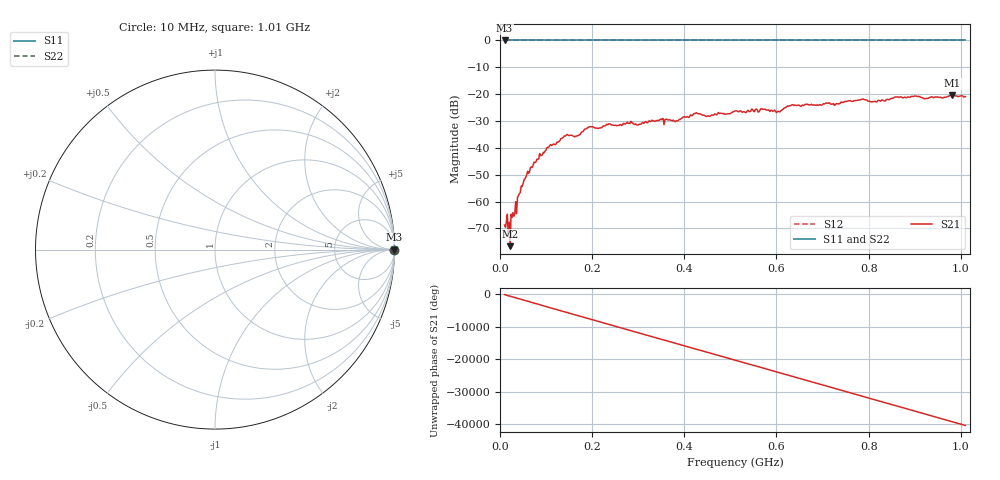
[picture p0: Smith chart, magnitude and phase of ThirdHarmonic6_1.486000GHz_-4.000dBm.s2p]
! 8/16/2025 5:23:14 PM
! C:\ANRITSUVNA\TEMP\TEMP.S2P
! CHANNEL.1
! TR.MEASUREMENT
! RAW.DATA
! RF.CORRECTION.OFF
! AVERAGING.OFF
! IF.BANDWIDTH: 5KHZ
! SWEEPTYPE:  FREQ.SWEEP(Linear)
! Reference Plane Port Info
! PORT:  PORT1  PORT2
! DISTANCE:  0  m  0  m
! TIME:  0  s  0  s
! PHASE.OFFSET:  0  deg.  0  deg.
! LOSS:  0  dB  0  dB
! REF.LOSS:  0  dB  0  dB
! REF.FREQ:  0  Hz  0  Hz
! Power Info
! POWER:  -20  dBm  -20  dBm
! EFF.POWER:  -20  dBm  -20  dBm
! SOURCE.ATTEN:  0  dB  0  dB
! TEST.ATTEN:  0  dB  0  dB
# GHZ S RI R 50.0
! FREQ.GHZ  S11RE  S11IM  S21RE  S21IM  S12RE  S12IM  S22RE  S22IM
!; PortSelection: Port_12
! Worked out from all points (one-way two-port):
!   501 points, 10 MHz to 1.01 GHz, reference 50 ohm
!   highest |S21| = -20.45 dB at 982 MHz (marker M1); lowest = -76.6 dB at 22 MHz (marker M2)
!   lowest |S11| = 0.0 dB at 10 MHz (marker M3)
!   |S11| at or under -10 dB: nowhere
!   |S22| runs from 0.0 to 0.0 dB; largest |S21 - S12| = 1.1
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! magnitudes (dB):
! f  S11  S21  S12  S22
! 10 MHz  0.0  -68.8  0.0  0.0
! 12 MHz  0.0  -69.6  0.0  0.0
! 22 MHz  0.0  -76.6  0.0  0.0
! 42 MHz  0.0  -57.1  0.0  0.0
! 56 MHz  0.0  -51.0  0.0  0.0
! 70 MHz  0.0  -47.2  0.0  0.0
! 106 MHz  0.0  -39.7  0.0  0.0
! 142 MHz  0.0  -35.6  0.0  0.0
! 166 MHz  0.0  -35.5  0.0  0.0
! 178 MHz  0.0  -34.0  0.0  0.0
! 196 MHz  0.0  -32.1  0.0  0.0
! 344 MHz  0.0  -29.8  0.0  0.0
! 382 MHz  0.0  -29.9  0.0  0.0
! 424 MHz  0.0  -27.2  0.0  0.0
! 452 MHz  0.0  -28.1  0.0  0.0
! 510 MHz  0.0  -26.2  0.0  0.0
! 604 MHz  0.0  -26.4  0.0  0.0
! 632 MHz  0.0  -24.2  0.0  0.0
! 678 MHz  0.0  -24.1  0.0  0.0
! 844 MHz  0.0  -22.0  0.0  0.0
! 982 MHz  0.0  -20.4  0.0  0.0
! 1.01 GHz  0.0  -20.9  0.0  0.0
